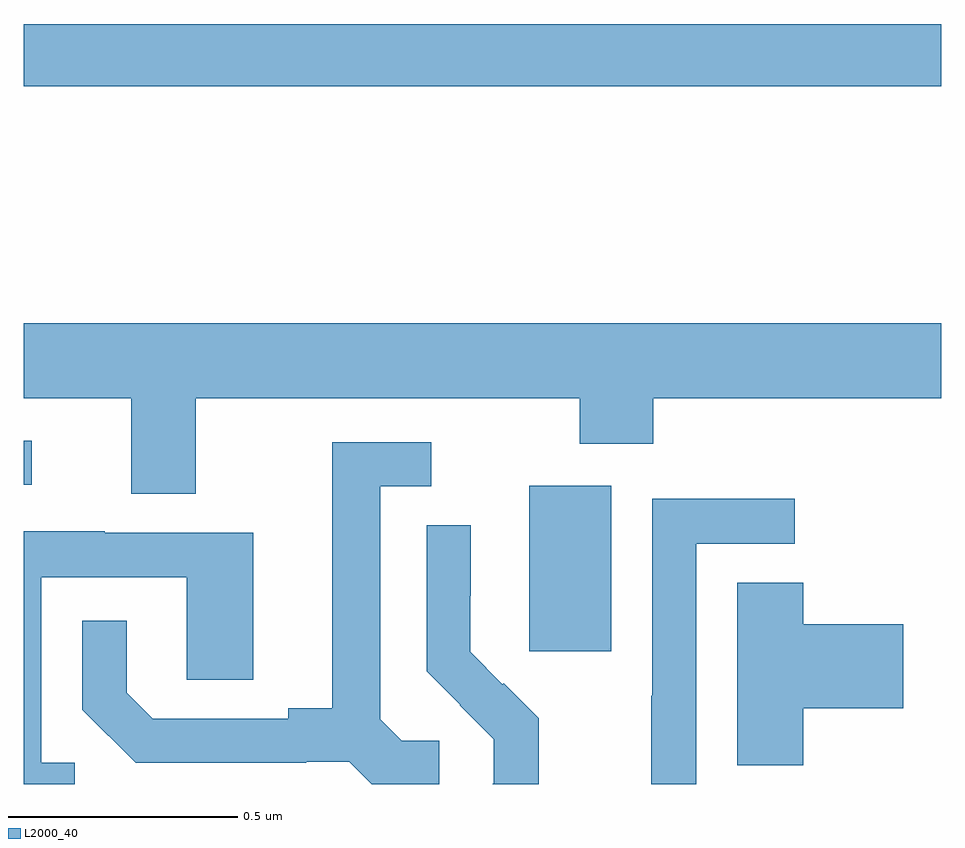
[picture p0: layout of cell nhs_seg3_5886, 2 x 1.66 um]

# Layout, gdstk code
import gdstk
lib = gdstk.Library(unit=1e-6, precision=1e-09)
def R(c, l, rs):  # rectangles x0, y0, x1, y1
    for r in rs: c.add(gdstk.rectangle(r[:2], r[2:], *l))
def P(c, l, *ps):  # polygons
    for p in ps: c.add(gdstk.Polygon(p, *l))
L2000_40 = (2000, 40)

nhs_seg3_5886 = lib.new_cell('nhs_seg3_5886')
R(nhs_seg3_5886, L2000_40, [(185.102,709.689,185.281,710.05), (184,710.052,184.018,710.148), (184,710.92,186,711.056)])
P(nhs_seg3_5886, L2000_40, [(184.375,710.24),(185.212,710.24),(185.212,710.141),(185.372,710.141),(185.372,710.24),(186,710.24),(186,710.404),(184,710.404),(184,710.24),(184.235,710.24),(184.235,710.032),(184.375,710.032)],
  [(184.906,709.494),(184.824,709.494),(184.777,709.541),(184.777,710.049),(184.888,710.049),(184.888,710.145),(184.673,710.145),(184.673,709.565),(184.577,709.565),(184.577,709.542),(184.282,709.542),(184.225,709.599),(184.225,709.756),(184.128,709.756),(184.128,709.562),(184.244,709.446),(184.616,709.446),(184.616,709.449),(184.71,709.449),(184.759,709.4),(184.906,709.4)],
  [(185.466,709.923),(185.68,709.923),(185.68,710.022),(185.37,710.022),(185.37,709.592),(185.368,709.592),(185.368,709.4),(185.466,709.4)],
  [(185.123,709.543),(185.046,709.62),(185.043,709.617),(184.973,709.688),(184.973,709.81),(184.974,709.81),(184.974,709.964),(184.878,709.964),(184.878,709.646),(184.951,709.573),(184.95,709.572),(185.024,709.498),(185.024,709.401),(185.022,709.401),(185.022,709.4),(185.123,709.4)],
  [(184.111,709.446),(184.038,709.446),(184.038,709.851),(184.356,709.851),(184.356,709.627),(184.501,709.627),(184.501,709.947),(184.177,709.947),(184.177,709.951),(184,709.951),(184,709.4),(184.111,709.4)],
  [(185.699,709.565),(185.917,709.565),(185.917,709.748),(185.699,709.748),(185.699,709.838),(185.555,709.838),(185.555,709.441),(185.699,709.441)])

lib.write_gds('nhs_seg3_5886.gds')
